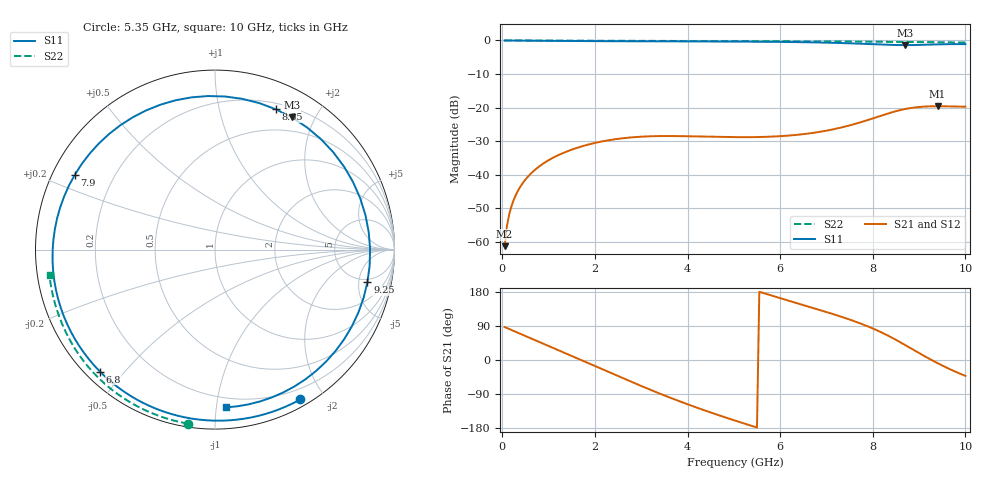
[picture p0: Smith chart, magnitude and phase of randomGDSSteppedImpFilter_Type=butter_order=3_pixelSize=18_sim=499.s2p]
! freq	dB(S11)	phase(S11)	dB(S12)	phase(S12)
!  dB(S21)	phase(S21)	dB(S22)	phase(S22)
!S-par simulation data
#  GHz  S  DB  R 50
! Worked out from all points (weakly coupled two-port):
!   200 points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, 50 MHz to 10 GHz, reference 50 ohm
!   highest |S21| = -19.61 dB at 9.4 GHz (marker M1); lowest = -61.3 dB at 50 MHz (marker M2)
!   lowest |S11| = -1.4 dB at 8.7 GHz (marker M3), VSWR 12.51, Z = 15.7 + j84.6 ohm
!   |S11| at or under -10 dB: nowhere
!   |S22| runs from -0.6 to 0.0 dB; largest |S21 - S12| = 0
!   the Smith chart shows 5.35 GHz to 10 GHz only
!   S11 on the Smith chart (normalised r, x): 5.35 GHz: 0.08, -1.72; 6.8 GHz: 0.04, -0.43; 7.9 GHz: 0.06, +0.25; 8.65 GHz: 0.26, +1.49; 9.25 GHz: 4.42, -6.52; 10 GHz: 0.13, -1.06
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0.05  -0.00 -4.3  -61.33 87.0  -61.33 87.0  -0.00 -1.0
0.15  -0.02 -12.9  -51.82 81.8  -51.82 81.8  -0.00 -3.0
0.3  -0.04 -25.8  -45.84 73.8  -45.84 73.8  -0.01 -6.0
0.95  -0.11 -81.6  -36.11 39.6  -36.11 39.6  -0.03 -19.0
1.75  -0.18 -151.8  -31.44 -2.6  -31.44 -2.6  -0.05 -34.7
2.2  -0.22 167.9  -29.98 -26.5  -29.98 -26.5  -0.06 -43.3
2.7  -0.25 123.2  -29.01 -53.0  -29.01 -53.0  -0.07 -52.6
3.4  -0.27 64.0  -28.50 -88.6  -28.50 -88.6  -0.09 -65.4
4.15  -0.29 9.2  -28.60 -123.5  -28.60 -123.5  -0.12 -78.6
5.05  -0.32 -44.5  -28.84 -160.8  -28.84 -160.8  -0.15 -93.8
5.35  -0.35 -60.3  -28.83 -172.5  -28.83 -172.5  -0.17 -98.8
6  -0.43 -92.8  -28.54 163.2  -28.54 163.2  -0.20 -109.3
6.7  -0.56 -128.0  -27.58 137.7  -27.58 137.7  -0.24 -120.3
6.8  -0.59 -133.3  -27.37 134.1  -27.37 134.1  -0.25 -121.8
7.4  -0.80 -169.2  -25.69 110.9  -25.69 110.9  -0.30 -131.1
7.9  -1.06 151.8  -23.69 88.4  -23.69 88.4  -0.35 -138.8
8.35  -1.31 104.8  -21.69 63.1  -21.69 63.1  -0.40 -145.7
8.65  -1.39 66.6  -20.58 42.9  -20.58 42.9  -0.44 -150.3
8.7  -1.39 59.9  -20.44 39.4  -20.44 39.4  -0.45 -151.0
9.25  -1.23 -12.0  -19.63 1.3  -19.63 1.3  -0.51 -159.4
9.4  -1.17 -29.3  -19.61 -8.4  -19.61 -8.4  -0.53 -161.7
10  -1.10 -86.1  -19.75 -42.0  -19.75 -42.0  -0.60 -171.2
